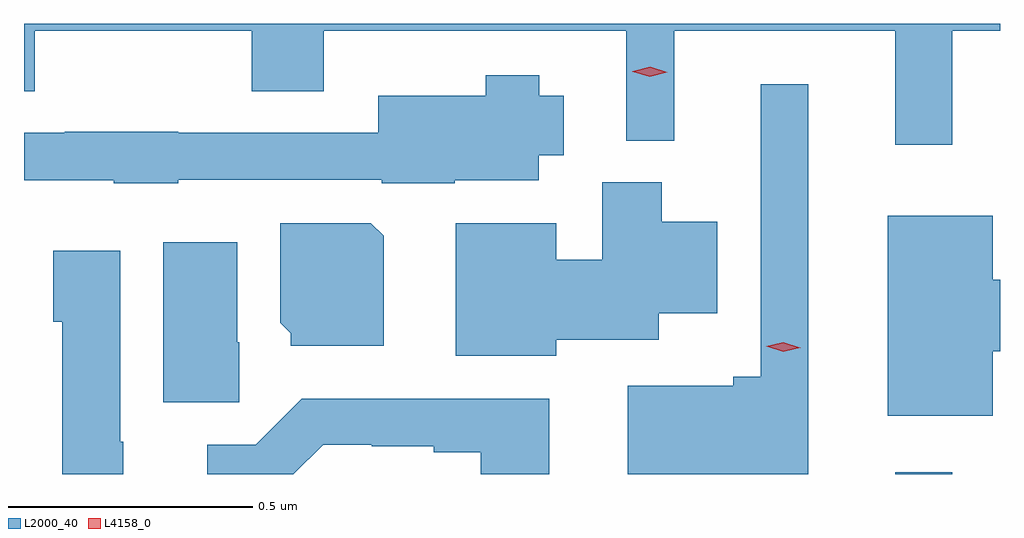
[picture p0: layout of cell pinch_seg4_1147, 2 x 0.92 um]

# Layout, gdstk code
import gdstk
lib = gdstk.Library(unit=1e-6, precision=1e-09)
def R(c, l, rs):  # rectangles x0, y0, x1, y1
    for r in rs: c.add(gdstk.rectangle(r[:2], r[2:], *l))
def P(c, l, *ps):  # polygons
    for p in ps: c.add(gdstk.Polygon(p, *l))
L2000_40 = (2000, 40)
L4158_0 = (4158, 0)

pinch_seg4_1147 = lib.new_cell('pinch_seg4_1147')
R(pinch_seg4_1147, L2000_40, [(487.856,831.875,487.973,831.88)])
P(pinch_seg4_1147, L2000_40, [(486.071,832.66),(486.093,832.66),(486.093,832.784),(486.538,832.784),(486.538,832.66),(486.685,832.66),(486.685,832.784),(487.305,832.784),(487.305,832.559),(487.403,832.559),(487.403,832.784),(487.856,832.784),(487.856,832.551),(487.973,832.551),(487.973,832.784),(488.071,832.784),(488.071,832.799),(486.071,832.799)],
  [(486.387,832.479),(486.804,832.479),(486.804,832.472),(486.954,832.472),(486.954,832.478),(487.126,832.478),(487.126,832.529),(487.177,832.529),(487.177,832.651),(487.127,832.651),(487.127,832.693),(487.017,832.693),(487.017,832.651),(486.797,832.651),(486.797,832.575),(486.387,832.575),(486.387,832.577),(486.155,832.577),(486.155,832.575),(486.071,832.575),(486.071,832.478),(486.255,832.478),(486.255,832.472),(486.387,832.472)],
  [(487.678,832.675),(487.581,832.675),(487.581,832.075),(487.524,832.075),(487.524,832.057),(487.308,832.057),(487.308,831.875),(487.678,831.875)],
  [(487.162,832.151),(487.372,832.151),(487.372,832.205),(487.492,832.205),(487.492,832.393),(487.378,832.393),(487.378,832.474),(487.256,832.474),(487.256,832.315),(487.162,832.315),(487.162,832.39),(486.956,832.39),(486.956,832.118),(487.162,832.118)],
  [(488.056,832.127),(488.071,832.127),(488.071,832.274),(488.056,832.274),(488.056,832.405),(487.841,832.405),(487.841,831.995),(488.056,831.995)],
  [(486.808,832.364),(486.782,832.39),(486.596,832.39),(486.596,832.186),(486.618,832.164),(486.618,832.139),(486.808,832.139)],
  [(486.512,832.146),(486.508,832.146),(486.508,832.351),(486.356,832.351),(486.356,832.023),(486.512,832.023)],
  [(486.274,831.942),(486.268,831.942),(486.268,832.333),(486.131,832.333),(486.131,832.188),(486.149,832.188),(486.149,831.875),(486.274,831.875)],
  [(486.684,831.936),(486.784,831.936),(486.784,831.933),(486.911,831.933),(486.911,831.921),(487.007,831.921),(487.007,831.875),(487.147,831.875),(487.147,832.03),(486.64,832.03),(486.546,831.936),(486.447,831.936),(486.447,831.875),(486.623,831.875)])
P(pinch_seg4_1147, L4158_0, [(487.627,832.126),(487.592,832.138),(487.591,832.138),(487.592,832.138),(487.627,832.146),(487.662,832.135),(487.663,832.135),(487.662,832.135)],
  [(487.353,832.69),(487.318,832.7),(487.317,832.7),(487.318,832.701),(487.354,832.71),(487.389,832.699),(487.389,832.699),(487.389,832.699)])

lib.write_gds('pinch_seg4_1147.gds')
